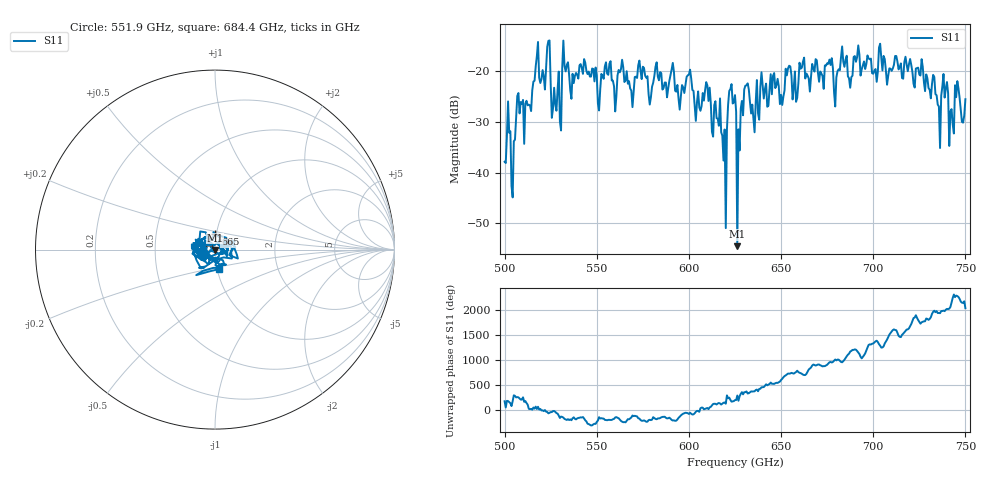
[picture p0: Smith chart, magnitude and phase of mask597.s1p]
!Created with skrf (http://scikit-rf.org).
# GHz S MA R 50.0
!freq magS11 angS11
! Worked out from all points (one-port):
!   401 points, 500 GHz to 750 GHz, reference 50 ohm
!   lowest |S11| = -54.6 dB at 626.2 GHz (marker M1), VSWR 1.00, Z = 50.1 - j0.175 ohm
!   |S11| at or under -10 dB: start of sweep to end of sweep
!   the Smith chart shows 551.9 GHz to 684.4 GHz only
!   S11 on the Smith chart (normalised r, x): 551.9 GHz: 0.88, -0.03; 665 GHz: 0.99, +0.17; 684.4 GHz: 1.02, -0.22
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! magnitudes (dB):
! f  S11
! 500 GHz  -37.9
! 505 GHz  -33.8
! 507.5 GHz  -24.3
! 511.9 GHz  -25.8
! 516.9 GHz  -19.0
! 523.8 GHz  -14.0
! 526.9 GHz  -23.2
! 531.2 GHz  -19.4
! 551.9 GHz  -23.6
! 562.5 GHz  -20.2
! 593.8 GHz  -22.7
! 610 GHz  -22.8
! 618.8 GHz  -37.6
! 623.1 GHz  -22.5
! 625 GHz  -24.7
! 626.2 GHz  -54.6
! 631.2 GHz  -22.8
! 635 GHz  -29.4
! 656.2 GHz  -25.5
! 665 GHz  -21.4
! 684.4 GHz  -19.1
! 687.5 GHz  -23.2
! 718.8 GHz  -20.0
! 735 GHz  -26.6
! 739.4 GHz  -23.4
! 742.5 GHz  -27.5
! 745.6 GHz  -21.9
! 750 GHz  -25.5
